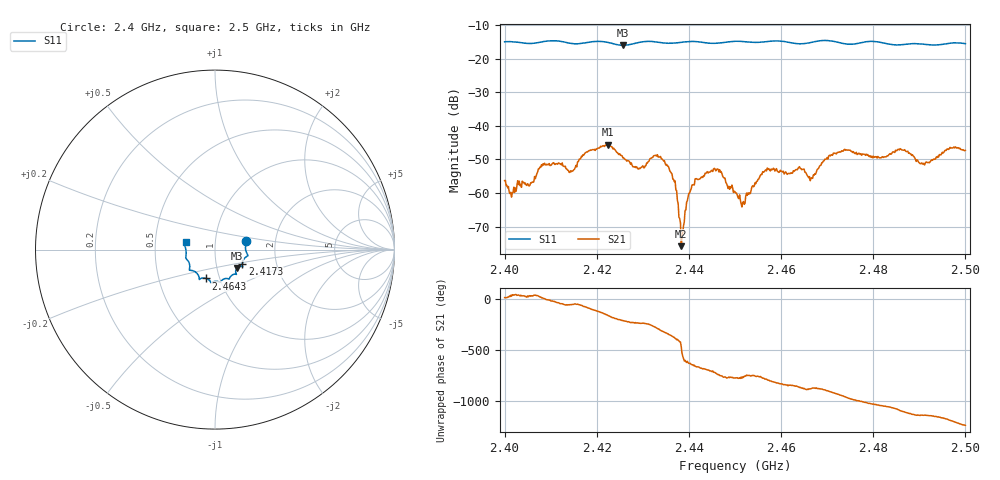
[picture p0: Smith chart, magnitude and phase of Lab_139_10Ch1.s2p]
# Hz S RI R 50
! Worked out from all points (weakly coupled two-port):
!   601 points, 2.4 GHz to 2.5 GHz, reference 50 ohm
!   highest |S21| = -45.58 dB at 2.4225 GHz (marker M1); lowest = -75.9 dB at 2.4383 GHz (marker M2)
!   lowest |S11| = -15.9 dB at 2.4257 GHz (marker M3), VSWR 1.38, Z = 62.4 - j13.1 ohm
!   |S11| at or under -10 dB: start of sweep to end of sweep
!   S12 and S22 are empty: the file has one direction only
!   S11 on the Smith chart (normalised r, x): 2.4 GHz: 1.41, +0.14; 2.4173 GHz: 1.34, -0.23; 2.4643 GHz: 0.86, -0.28; 2.5 GHz: 0.72, +0.06
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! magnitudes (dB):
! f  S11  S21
! 2.4 GHz  -14.9  -56.3
! 2.4017 GHz  -14.9  -60.0
! 2.4082 GHz  -14.9  -51.9
! 2.4145 GHz  -15.4  -53.6
! 2.4167 GHz  -15.4  -49.0
! 2.4173 GHz  -15.2  -48.3
! 2.4225 GHz  -15.1  -45.6
! 2.4257 GHz  -15.9  -49.5
! 2.429 GHz  -15.1  -52.9
! 2.4333 GHz  -15.0  -49.3
! 2.4365 GHz  -15.3  -55.9
! 2.4383 GHz  -15.1  -75.9
! 2.4418 GHz  -14.9  -55.9
! 2.4458 GHz  -15.3  -53.4
! 2.45 GHz  -14.7  -59.6
! 2.4517 GHz  -14.8  -62.9
! 2.4565 GHz  -14.9  -53.3
! 2.4643 GHz  -15.5  -52.8
! 2.4667 GHz  -15.0  -55.5
! 2.4737 GHz  -15.4  -47.1
! 2.4833 GHz  -15.6  -48.7
! 2.5 GHz  -15.4  -47.3
